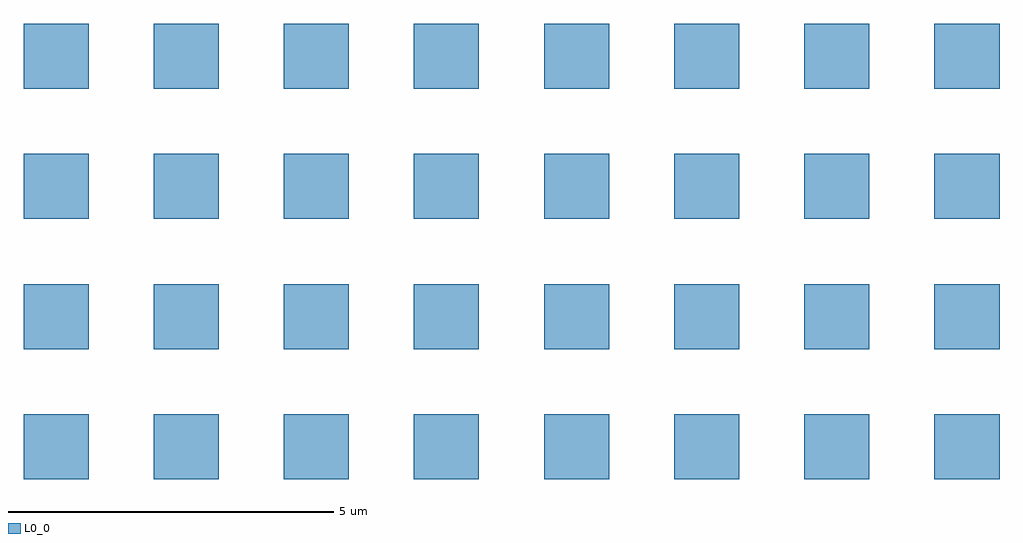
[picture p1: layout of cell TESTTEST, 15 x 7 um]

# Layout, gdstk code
import gdstk
lib = gdstk.Library(unit=1e-6, precision=1e-09)
def R(c, l, rs):  # rectangles x0, y0, x1, y1
    for r in rs: c.add(gdstk.rectangle(r[:2], r[2:], *l))
L0_0 = (0, 0)

new = lib.new_cell('NEW')
R(new, L0_0, [(-0.5,-0.5,0.5,0.5)])

testtest = lib.new_cell('TESTTEST')
r = gdstk.Reference(new, (0,0)); r.repetition = gdstk.Repetition(8, 4, v1=(2,0), v2=(0,2)); testtest.add(r)

lib.write_gds('TESTTEST.gds')
